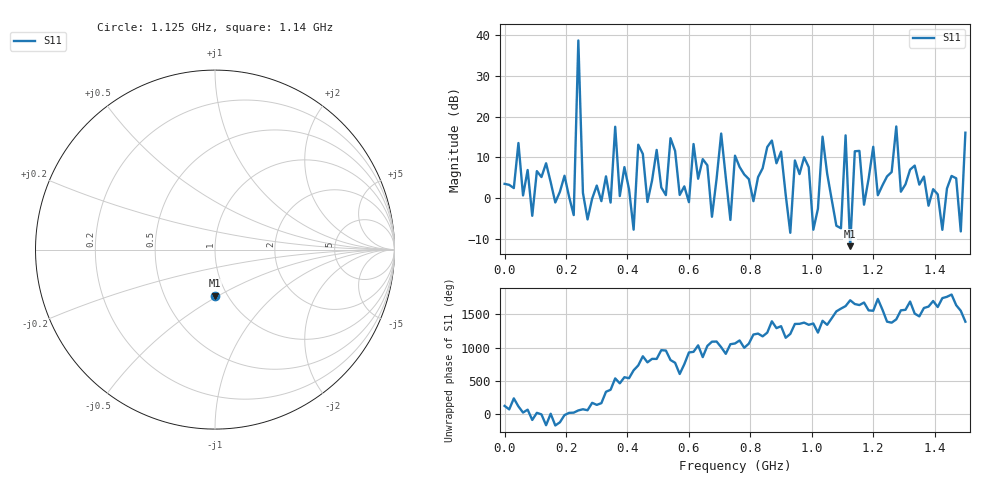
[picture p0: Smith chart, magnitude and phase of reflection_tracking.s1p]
! Created with skrf 1.8.0 (http://scikit-rf.org).
# Hz S RI R 50.0
!freq ReS11 ImS11
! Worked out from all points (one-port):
!   101 points, 50 kHz to 1.5 GHz, reference 50 ohm
!   lowest |S11| = -11.8 dB at 1.125 GHz (marker M1), VSWR 1.69, Z = 43.7 - j24 ohm
!   |S11| at or under -10 dB: 1.124015 GHz to 1.126178 GHz (2.163 MHz wide, 0.192 % of centre)
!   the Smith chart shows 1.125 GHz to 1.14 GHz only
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50000  -0.8628 1.22
1.950435e8  1.837 -0.3939
2.250425e8  0.5632 0.2545
2.40042e8  45.82 72.77
2.550415e8  0.2944 1.118
3.450385e8  0.8726 0.1157
3.60038e8  -7.5 0.2841
3.750375e8  -0.2583 1.027
4.350355e8  4.415 0.9719
5.250325e8  -0.6081 -0.9005
5.40032e8  -0.3349 5.421
5.70031e8  -0.4751 -0.9827
6.450285e8  -2.214 2.031
7.050265e8  1.695 -5.956
7.50025e8  3.147 -1.031
8.550215e8  -3.432 2.477
8.70021e8  3.541 -3.645
8.850205e8  -2.271 -1.41
9.450185e8  0.2381 -2.884
1.035016e9  4.464 -3.496
1.110013e9  -5.88 -0.2518
1.125012e9  -0.00185 -0.2567
1.230009e9  -0.8918 1.12
1.275008e9  7.251 -2.159
1.290007e9  -0.5748 1.049
1.320006e9  -0.7641 -2.098
1.485e9  -0.1448 0.3615
1.5e9  3.929 -4.981
